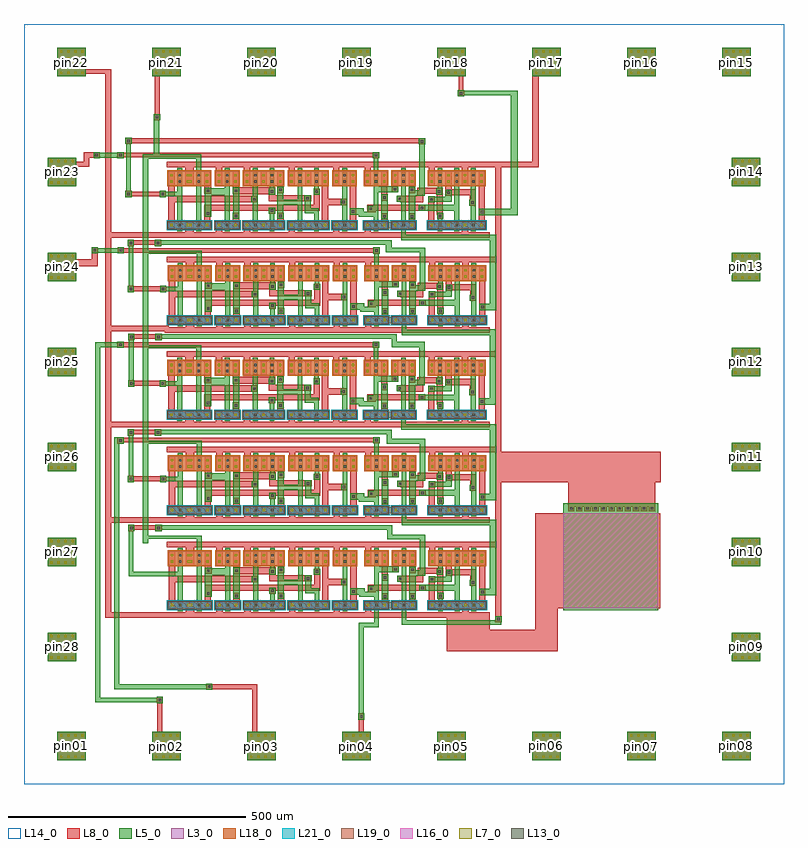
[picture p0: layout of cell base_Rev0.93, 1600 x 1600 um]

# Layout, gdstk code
from math import pi, radians
import gdstk
lib = gdstk.Library(unit=1e-6, precision=1e-09)
def R(c, l, rs):  # rectangles x0, y0, x1, y1
    for r in rs: c.add(gdstk.rectangle(r[:2], r[2:], *l))
def A(c, l, x, y, w, h, nx, ny, dx, dy):  # array of equal rectangles
    R(c, l, [(x+i*dx, y+j*dy, x+i*dx+w, y+j*dy+h) for i in range(nx) for j in range(ny)])
L3_0 = (3, 0)
L5_0 = (5, 0)
L7_0 = (7, 0)
L8_0 = (8, 0)
L13_0 = (13, 0)
L14_0 = (14, 0)
L16_0 = (16, 0)
L18_0 = (18, 0)
L19_0 = (19, 0)
L21_0 = (21, 0)

c_16_5x5_flame = lib.new_cell('16_5x5_flame')
R(c_16_5x5_flame, L14_0, [(-800,-800,800,800), (-750,-750,750,750)])

tin_m1 = lib.new_cell('tin_M1')
R(tin_m1, L5_0, [(-7,-7,6,6)])
R(tin_m1, L7_0, [(-3,-3,2,2)])
R(tin_m1, L8_0, [(-7,-7,6,6)])

pad_60_m1_tin = lib.new_cell('pad_60_m1_tin')
R(pad_60_m1_tin, L5_0, [(-30,-30,30,30), (-30,-30,30,30)])
R(pad_60_m1_tin, L8_0, [(-30,-30,30,30)])
r = gdstk.Reference(tin_m1, (22,-23), rotation=pi/2); r.repetition = gdstk.Repetition(4, 4, v1=(0,15), v2=(-15,0)); pad_60_m1_tin.add(r)

dcont_2 = lib.new_cell('dcont$2')
R(dcont_2, L3_0, [(-6.5,-6.5,6.5,6.5)])
R(dcont_2, L7_0, [(-2.5,-2.5,2.5,2.5)])
R(dcont_2, L8_0, [(-6.5,-6.5,6.5,6.5)])

pcont_min_1 = lib.new_cell('pcont_min$1')
R(pcont_min_1, L5_0, [(-4.5,-6.5,4.5,6.5)])
R(pcont_min_1, L7_0, [(-2.5,-2.5,2.5,2.5)])
R(pcont_min_1, L8_0, [(-4.5,-6.5,4.5,6.5)])
R(pcont_min_1, L13_0, [(-2.5,-2.5,2.5,2.5)])

pch_1_1 = lib.new_cell('Pch$1$1')
R(pch_1_1, L3_0, [(0,17,48,47)])
R(pch_1_1, L18_0, [(-2,15,50,49)])
pch_1_1.add(gdstk.FlexPath([(6.5,17),(6.5,47)], 13, ends="flush", simple_path=True, layer=8, datatype=0))  # L8_0
pch_1_1.add(gdstk.FlexPath([(41.5,17),(41.5,47)], 13, ends="flush", simple_path=True, layer=8, datatype=0))  # L8_0
pch_1_1.add(gdstk.FlexPath([(24,17),(24,47)], 10, ends=(6.5, 6.5), simple_path=True, layer=5, datatype=0))  # L5_0
pch_1_1.add(gdstk.Reference(dcont_2, (6.5,25.5)))
pch_1_1.add(gdstk.Reference(dcont_2, (6.5,38.5)))
pch_1_1.add(gdstk.Reference(dcont_2, (41.5,25.5)))
pch_1_1.add(gdstk.Reference(dcont_2, (41.5,38.5)))
pch_1_1.add(gdstk.Reference(pcont_min_1, (24,25.5)))
pch_1_1.add(gdstk.Reference(pcont_min_1, (24,38.5)))

nch_1_1 = lib.new_cell('Nch$1$1')
R(nch_1_1, L3_0, [(0,18.5,48,28.5)])
R(nch_1_1, L19_0, [(-2,15,50,32)])
R(nch_1_1, L21_0, [(-4,13,52,34)])
nch_1_1.add(gdstk.FlexPath([(6.5,17),(6.5,30)], 13, ends="flush", simple_path=True, layer=8, datatype=0))  # L8_0
nch_1_1.add(gdstk.FlexPath([(41.5,17),(41.5,30)], 13, ends="flush", simple_path=True, layer=8, datatype=0))  # L8_0
nch_1_1.add(gdstk.FlexPath([(24,17),(24,30)], 10, ends=(6.5, 6.5), simple_path=True, layer=5, datatype=0))  # L5_0
nch_1_1.add(gdstk.Reference(dcont_2, (6.5,23.5)))
nch_1_1.add(gdstk.Reference(dcont_2, (41.5,23.5)))
nch_1_1.add(gdstk.Reference(pcont_min_1, (24,23.5)))

pcont_1 = lib.new_cell('pcont$1')
R(pcont_1, L5_0, [(-6.5,-6.5,6.5,6.5)])
R(pcont_1, L7_0, [(-2.5,-2.5,2.5,2.5)])
R(pcont_1, L8_0, [(-6.5,-6.5,6.5,6.5)])
R(pcont_1, L13_0, [(-2.5,-2.5,2.5,2.5)])

top_1 = lib.new_cell('TOP$1')
R(top_1, L5_0, [(307,-56,317,-31), (19,-54,29,11), (59,-54,69,11), (119,-54,129,11), (178,-54,188,12), (213,-54,223,-39), (272,-54,282,11), (366,-54,376,11), (229,-53,242,-44), (136,-52,149,13), (76,-49,90,-4), (229,-47,242,11), (382,-45,406,-31), (287,-41,300,-3), (300,-41,307,-31), (242,-23,273,-13), (-3,-6,29,4), (76,-4,79,11), (79,-4,119,11), (59,53,69,69)])
A(top_1, L8_0, 159, -81, 13, 8, 3, 2, 94, 128)
R(top_1, L8_0, [(-4,-93,0,-81), (0,-93,158,-81), (158,-93,263,-81), (263,-93,378,-81), (378,-93,406,-81), (35,-81,53,-73), (100,-81,113,-73), (0,-73,13,33), (75,-73,88,-35), (135,-73,149,-42), (229,-73,243,-40), (323,-73,336,17), (382,-73,395,31), (75,-36,145,-23), (135,-36,187,-23), (187,-36,225,-23), (225,-36,277,-23), (277,-36,318,-23), (306,-36,319,10), (336,-25,376,-11), (13,-18,139,-5), (135,-18,187,-5), (211,-16,263,-3), (263,-16,301,-3), (211,-6,225,0), (135,-1,149,47), (135,-1,225,13), (75,0,90,47), (229,1,242,22), (35,46,53,55), (100,47,113,55), (-4,55,0,67), (0,55,158,67), (158,55,263,67), (263,55,378,67), (378,55,406,67)])
top_1.add(gdstk.Reference(pch_1_1, (0,0)))
top_1.add(gdstk.Reference(pch_1_1, (40,0)))
top_1.add(gdstk.Reference(pch_1_1, (100,0)))
top_1.add(gdstk.Reference(nch_1_1, (0,-90)))
top_1.add(gdstk.Reference(nch_1_1, (40,-90)))
top_1.add(gdstk.Reference(nch_1_1, (100,-90)))
top_1.add(gdstk.Reference(pcont_1, (83,6)))
top_1.add(gdstk.Reference(pch_1_1, (159,0)))
top_1.add(gdstk.Reference(nch_1_1, (159,-90)))
top_1.add(gdstk.Reference(pch_1_1, (194,0)))
top_1.add(gdstk.Reference(nch_1_1, (194,-90)))
top_1.add(gdstk.Reference(pcont_1, (83,-42)))
top_1.add(gdstk.Reference(pcont_1, (142,-47)))
top_1.add(gdstk.Reference(pcont_1, (142,6)))
top_1.add(gdstk.Reference(pcont_1, (181,-12)))
top_1.add(gdstk.Reference(pcont_1, (218,4)))
top_1.add(gdstk.Reference(pcont_1, (218,-36)))
top_1.add(gdstk.Reference(pch_1_1, (253,0)))
top_1.add(gdstk.Reference(pch_1_1, (288,0)))
top_1.add(gdstk.Reference(nch_1_1, (253,-90)))
top_1.add(gdstk.Reference(nch_1_1, (288,-90)))
top_1.add(gdstk.Reference(pcont_1, (236,8)))
top_1.add(gdstk.Reference(pcont_1, (236,-47)))
top_1.add(gdstk.Reference(pcont_1, (293,-10)))
top_1.add(gdstk.Reference(pcont_1, (312,4)))
top_1.add(gdstk.Reference(pch_1_1, (347,0)))
top_1.add(gdstk.Reference(nch_1_1, (347,-90)))
top_1.add(gdstk.Reference(pcont_1, (369,-18)))
top_1.add(gdstk.Reference(pcont_1, (389,-38)))
top_1.add(gdstk.Label('CLK', (64,68), layer=5, texttype=0))
top_1.add(gdstk.Label('DAT', (-2,-1), layer=5, texttype=0))
top_1.add(gdstk.Label('Q', (401,-39), layer=5, texttype=0))

pcont = lib.new_cell('pcont')
R(pcont, L5_0, [(-6.5,-6.5,6.5,6.5)])
R(pcont, L7_0, [(-2.5,-2.5,2.5,2.5)])
R(pcont, L8_0, [(-6.5,-6.5,6.5,6.5)])
R(pcont, L13_0, [(-2.5,-2.5,2.5,2.5)])

dcont = lib.new_cell('dcont')
R(dcont, L3_0, [(-6.5,-6.5,6.5,6.5)])
R(dcont, L7_0, [(-2.5,-2.5,2.5,2.5)])
R(dcont, L8_0, [(-6.5,-6.5,6.5,6.5)])

pcont_min = lib.new_cell('pcont_min')
R(pcont_min, L5_0, [(-4.5,-6.5,4.5,6.5)])
R(pcont_min, L7_0, [(-2.5,-2.5,2.5,2.5)])
R(pcont_min, L8_0, [(-4.5,-6.5,4.5,6.5)])
R(pcont_min, L13_0, [(-2.5,-2.5,2.5,2.5)])

pch_1 = lib.new_cell('Pch$1')
R(pch_1, L3_0, [(0,17,48,47)])
R(pch_1, L18_0, [(-2,15,50,49)])
pch_1.add(gdstk.FlexPath([(6.5,17),(6.5,47)], 13, ends="flush", simple_path=True, layer=8, datatype=0))  # L8_0
pch_1.add(gdstk.FlexPath([(41.5,17),(41.5,47)], 13, ends="flush", simple_path=True, layer=8, datatype=0))  # L8_0
pch_1.add(gdstk.FlexPath([(24,17),(24,47)], 10, ends=(6.5, 6.5), simple_path=True, layer=5, datatype=0))  # L5_0
pch_1.add(gdstk.Reference(dcont, (6.5,25.5)))
pch_1.add(gdstk.Reference(dcont, (6.5,38.5)))
pch_1.add(gdstk.Reference(dcont, (41.5,25.5)))
pch_1.add(gdstk.Reference(dcont, (41.5,38.5)))
pch_1.add(gdstk.Reference(pcont_min, (24,25.5)))
pch_1.add(gdstk.Reference(pcont_min, (24,38.5)))

nch_1 = lib.new_cell('Nch$1')
R(nch_1, L3_0, [(0,18.5,48,28.5)])
R(nch_1, L19_0, [(-2,15,50,32)])
R(nch_1, L21_0, [(-4,13,52,34)])
nch_1.add(gdstk.FlexPath([(6.5,17),(6.5,30)], 13, ends="flush", simple_path=True, layer=8, datatype=0))  # L8_0
nch_1.add(gdstk.FlexPath([(41.5,17),(41.5,30)], 13, ends="flush", simple_path=True, layer=8, datatype=0))  # L8_0
nch_1.add(gdstk.FlexPath([(24,17),(24,30)], 10, ends=(6.5, 6.5), simple_path=True, layer=5, datatype=0))  # L5_0
nch_1.add(gdstk.Reference(dcont, (6.5,23.5)))
nch_1.add(gdstk.Reference(dcont, (41.5,23.5)))
nch_1.add(gdstk.Reference(pcont_min, (24,23.5)))

top = lib.new_cell('TOP')
R(top, L5_0, [(94,-140,104,-126), (36,-101,46,-36), (94,-101,104,-36), (206,-101,216,-36), (241,-101,251,-36), (10,-96,36,-85), (257,-93,280,-79), (52,-92,66,-58), (110,-91,124,-40), (142,-83,209,-71), (164,-64,200,-54), (187,-54,200,-47), (124,-52,139,-40), (139,-52,144,-40), (46,-44,79,-32), (46,-44,79,-32), (132,-40,144,7), (171,-40,181,-36), (132,7,144,20)])
R(top, L8_0, [(10,-140,80,-128), (80,-140,279,-128), (279,-140,280,-128), (17,-128,30,-120), (222,-128,235,-120), (52,-120,88,-107), (151,-120,164,-88), (52,-107,66,-88), (110,-107,123,-88), (257,-107,270,-30), (169,-92,182,-48), (151,-88,164,-59), (23,-86,40,-70), (36,-83,86,-70), (86,-83,133,-70), (238,-72,251,-38), (92,-65,139,-52), (128,-65,140,-35), (52,-62,65,-26), (200,-51,251,-38), (169,-48,182,-35), (131,-47,181,-35), (187,-47,200,-29), (110,-46,123,-30), (75,-44,88,-28), (17,0,30,8), (152,0,165,8), (222,0,235,8), (10,8,80,20), (80,8,279,20), (279,8,280,20)])
top.add(gdstk.Reference(pcont, (81,-38)))
top.add(gdstk.Reference(pch_1, (17,-47)))
top.add(gdstk.Reference(nch_1, (17,-137)))
top.add(gdstk.Reference(nch_1, (75,-137)))
top.add(gdstk.Reference(pcont, (59,-95)))
top.add(gdstk.Reference(pcont, (59,-55)))
top.add(gdstk.Reference(pch_1, (75,-47)))
top.add(gdstk.Reference(pcont, (117,-39)))
top.add(gdstk.Reference(pcont, (117,-95)))
top.add(gdstk.Reference(pch_1, (152,-47)))
top.add(gdstk.Reference(pch_1, (187,-47)))
top.add(gdstk.Reference(nch_1, (152,-137)))
top.add(gdstk.Reference(nch_1, (187,-137)))
top.add(gdstk.Reference(pch_1, (222,-47)))
top.add(gdstk.Reference(nch_1, (222,-137)))
top.add(gdstk.Reference(pcont, (30,-79)))
top.add(gdstk.Reference(pcont, (91,-58)))
top.add(gdstk.Reference(pcont, (176,-94)))
top.add(gdstk.Reference(pcont, (158,-59)))
top.add(gdstk.Reference(pcont, (194,-45)))
top.add(gdstk.Reference(pcont, (174,-43)))
top.add(gdstk.Reference(pcont, (138,-77)))
top.add(gdstk.Reference(pcont, (244,-66)))
top.add(gdstk.Reference(pcont, (264,-86)))
top.add(gdstk.Label('DIN', (11,-91), layer=5, texttype=0))
top.add(gdstk.Label('CIN', (99,-139), layer=5, texttype=0))
top.add(gdstk.Label('DOUT', (137,17), layer=5, texttype=0))
top.add(gdstk.Label('COUT', (275,-87), layer=5, texttype=0))

pcont_2 = lib.new_cell('pcont$2')
R(pcont_2, L5_0, [(-6.5,-6.5,6.5,6.5)])
R(pcont_2, L7_0, [(-2.5,-2.5,2.5,2.5)])
R(pcont_2, L8_0, [(-6.5,-6.5,6.5,6.5)])
R(pcont_2, L13_0, [(-2.5,-2.5,2.5,2.5)])

pcont_3 = lib.new_cell('pcont$3')
R(pcont_3, L5_0, [(-6.5,-6.5,6.5,6.5)])
R(pcont_3, L7_0, [(-2.5,-2.5,2.5,2.5)])
R(pcont_3, L8_0, [(-6.5,-6.5,6.5,6.5)])
R(pcont_3, L13_0, [(-2.5,-2.5,2.5,2.5)])

tin_cap = lib.new_cell('TIN_cap')
R(tin_cap, L5_0, [(23.5,-4,223.5,221)])
R(tin_cap, L8_0, [(0,0,227.5,200)])
R(tin_cap, L16_0, [(23.5,0,223.5,200)])
tin_cap.add(gdstk.Reference(pcont_3, (40.25,210.5)))
tin_cap.add(gdstk.Reference(pcont_3, (57.25,210.5)))
tin_cap.add(gdstk.Reference(pcont_3, (74.25,210.5)))
tin_cap.add(gdstk.Reference(pcont_3, (91.25,210.5)))
tin_cap.add(gdstk.Reference(pcont_3, (108.25,210.5)))
tin_cap.add(gdstk.Reference(pcont_3, (125.25,210.5)))
tin_cap.add(gdstk.Reference(pcont_3, (142.25,210.5)))
tin_cap.add(gdstk.Reference(pcont_3, (159.25,210.5)))
tin_cap.add(gdstk.Reference(pcont_3, (176.25,210.5)))
tin_cap.add(gdstk.Reference(pcont_3, (193.25,210.5)))
tin_cap.add(gdstk.Reference(pcont_3, (210.25,210.5)))

base_rev0_93 = lib.new_cell('base_Rev0.93')
R(base_rev0_93, L5_0, [(-95,-653,-85,-460), (-650,-628,-640,-560), (-640,-628,-520,-618), (-610,-600,-599,-470), (-599,-600,-414,-590), (-650,-560,-640,-450), (-610,-470,-599,-70), (-85,-470,-53,-460), (-5,-465,5,-450), (5,-465,205,-455), (-63,-460,-53,-436), (-650,-450,-640,-260), (-94,-406,-83,-388), (181,-403,194,-244), (-580,-363,-570,-265), (-570,-363,-498,-353), (-550,-293,-538,516), (33,-290,45,-275), (-436,-288,-426,-284), (-35,-285,-25,-265), (-25,-285,33,-275), (-538,-284,-426,-277), (-512,-265,-499,-255), (-499,-265,-25,-255), (-650,-260,-640,120), (-5,-255,5,-250), (5,-255,182,-244), (-95,-206,-84,-188), (181,-203,194,-44), (-580,-163,-570,-65), (-502,-163,-498,-153), (-63,-104,-53,-82), (33,-90,45,-84), (-436,-88,-426,-84), (-538,-84,-426,-77), (-36,-84,-26,-64), (-26,-84,45,-73), (-513,-64,-500,-54), (-500,-64,-26,-54), (-6,-54,4,-49), (4,-54,181,-43), (181,-44,194,-43), (-95,-5,-85,13), (180,-2,193,157), (-579,38,-569,136), (-503,38,-499,48), (-64,97,-54,119), (32,111,44,120), (-437,113,-427,117), (-539,117,-427,124), (-650,120,-646,130), (-646,120,-600,130), (-26,120,-15,147), (-15,120,44,131), (-512,137,-499,147), (-499,137,-25,147), (-5,145,5,150), (5,145,182,156), (-92,194,-84,212), (181,197,194,356), (-502,237,-498,247), (-580,241,-570,339), (-63,296,-53,318), (33,310,45,319), (-436,312,-426,316), (-538,316,-426,323), (-650,318,-600,328), (-38,319,45,329), (-38,329,-26,335), (-513,335,-500,345), (-500,335,-26,345), (-6,345,4,350), (4,345,181,356), (-95,394,-85,412), (180,397,239,411), (225,411,239,564), (-504,437,-499,447), (-585,440,-575,549), (-64,496,-54,518), (32,510,44,554), (-437,512,-427,516), (-550,516,-507,526), (-507,516,-427,526), (-642,518,-635,529), (-635,518,-600,529), (-527,526,-515,527), (-527,527,-515,598), (225,564,239,660), (124,650,225,660)])
R(base_rev0_93, L8_0, [(-520,-695,-509,-628), (-95,-694,-85,-663), (-320,-692,-309,-590), (-405,-600,-320,-590), (90,-520,276,-475), (276,-520,324,-510), (276,-510,324,-430), (90,-475,181,-450), (-629,-450,-616,510), (-616,-450,-499,-438), (192,-450,205,510), (276,-430,312,-230), (181,-302,205,-290), (-570,-265,-521,-255), (-616,-250,-499,-238), (346,-216,529,-165), (205,-165,541,-101), (-569,-163,-512,-152), (181,-102,205,-90), (-592,-81,-548,-71), (-548,-81,-63,-71), (-571,-64,-522,-54), (-617,-49,-500,-37), (-568,38,-511,49), (180,99,205,111), (-593,120,-549,130), (-549,120,-64,130), (-570,137,-521,147), (-504,150,-495,165), (-616,153,-499,165), (-569,237,-511,248), (-692,290,-645,305), (181,298,205,310), (-657,305,-645,318), (-590,318,-548,328), (-548,318,-63,328), (-571,335,-522,345), (-616,350,-500,362), (-576,437,-511,447), (180,498,205,510), (205,498,284,510), (-692,500,-663,510), (-674,510,-663,530), (-629,510,-616,705), (270,510,284,570), (-663,518,-651,530), (-594,519,-550,529), (-550,519,-65,529), (-575,549,-540,559), (-540,549,32,559), (270,570,284,690), (-525,610,-514,691), (115,659,125,703), (-673,695,-629,705)])
base_rev0_93.add(gdstk.Reference(c_16_5x5_flame, (0,0)))
r = gdstk.Reference(pad_60_m1_tin, (700,720), rotation=pi/2); r.repetition = gdstk.Repetition(1, 8, v1=(0,0), v2=(-200,0)); base_rev0_93.add(r)
r = gdstk.Reference(pad_60_m1_tin, (700,-720), rotation=pi/2); r.repetition = gdstk.Repetition(1, 8, v1=(0,0), v2=(-200,0)); base_rev0_93.add(r)
r = gdstk.Reference(pad_60_m1_tin, (-720,488), rotation=pi); r.repetition = gdstk.Repetition(1, 6, v1=(0,0), v2=(0,-200)); base_rev0_93.add(r)
r = gdstk.Reference(pad_60_m1_tin, (720,488), rotation=pi); r.repetition = gdstk.Repetition(1, 6, v1=(0,0), v2=(0,-200)); base_rev0_93.add(r)
base_rev0_93.add(gdstk.Reference(top_1, (-496,443)))
base_rev0_93.add(gdstk.Reference(top_1, (-495,243)))
base_rev0_93.add(gdstk.Reference(top_1, (-496,44)))
base_rev0_93.add(gdstk.Reference(top_1, (-495,-157)))
base_rev0_93.add(gdstk.Reference(top_1, (-495,-357)))
base_rev0_93.add(gdstk.Reference(top, (-100,490)))
base_rev0_93.add(gdstk.Reference(top, (-99,290)))
base_rev0_93.add(gdstk.Reference(top, (-100,91)))
base_rev0_93.add(gdstk.Reference(top, (-99,-110)))
base_rev0_93.add(gdstk.Reference(top, (-99,-310)))
base_rev0_93.add(gdstk.Reference(pcont_2, (-520,604)))
base_rev0_93.add(gdstk.Reference(pcont_2, (199,-453)))
base_rev0_93.add(gdstk.Reference(pcont_2, (-517,-261)))
base_rev0_93.add(gdstk.Reference(pcont_2, (-574,-261)))
base_rev0_93.add(gdstk.Reference(pcont_2, (-90,-658)))
base_rev0_93.add(gdstk.Reference(pcont_2, (-518,-60)))
base_rev0_93.add(gdstk.Reference(pcont_2, (-575,-60)))
base_rev0_93.add(gdstk.Reference(pcont_2, (-58,-76)))
base_rev0_93.add(gdstk.Reference(pcont_2, (-597,-77)))
base_rev0_93.add(gdstk.Reference(pcont_2, (-410,-595)))
base_rev0_93.add(gdstk.Reference(pcont_2, (-59,125)))
base_rev0_93.add(gdstk.Reference(pcont_2, (38,553)))
base_rev0_93.add(gdstk.Reference(pcont_2, (120,654)))
base_rev0_93.add(gdstk.Reference(pcont_2, (-575,-158)))
base_rev0_93.add(gdstk.Reference(pcont_2, (-507,-158)))
base_rev0_93.add(gdstk.Reference(pcont_2, (-580,554)))
base_rev0_93.add(gdstk.Reference(pcont_2, (-508,442)))
base_rev0_93.add(gdstk.Reference(pcont_2, (-580,442)))
base_rev0_93.add(gdstk.Reference(pcont_2, (-517,141)))
base_rev0_93.add(gdstk.Reference(pcont_2, (-574,141)))
base_rev0_93.add(gdstk.Reference(pcont_2, (-508,43)))
base_rev0_93.add(gdstk.Reference(pcont_2, (-574,43)))
base_rev0_93.add(gdstk.Reference(pcont_2, (-58,323)))
base_rev0_93.add(gdstk.Reference(pcont_2, (-518,339)))
base_rev0_93.add(gdstk.Reference(pcont_2, (-575,339)))
base_rev0_93.add(gdstk.Reference(pcont_2, (-507,242)))
base_rev0_93.add(gdstk.Reference(pcont_2, (-575,242)))
base_rev0_93.add(gdstk.Reference(pcont_2, (-597,125)))
base_rev0_93.add(gdstk.Reference(pcont_2, (-596,324)))
base_rev0_93.add(gdstk.Reference(pcont_2, (-514,-623)))
base_rev0_93.add(gdstk.Reference(pcont_2, (-59,524)))
base_rev0_93.add(gdstk.Reference(pcont_2, (-651,324)))
base_rev0_93.add(gdstk.Reference(pcont_2, (-597,524)))
base_rev0_93.add(gdstk.Reference(pcont_2, (-647,524)))
base_rev0_93.add(gdstk.Reference(tin_cap, (312,-430)))
base_rev0_93.add(gdstk.Label('pin01', (-699,-719.5), layer=8, texttype=0))
base_rev0_93.add(gdstk.Label('pin02', (-499,-720), layer=8, texttype=0))
base_rev0_93.add(gdstk.Label('pin03', (-299,-720), layer=8, texttype=0))
base_rev0_93.add(gdstk.Label('pin04', (-99,-720), layer=8, texttype=0))
base_rev0_93.add(gdstk.Label('pin05', (101,-720), layer=8, texttype=0))
base_rev0_93.add(gdstk.Label('pin06', (301,-719.5), layer=8, texttype=0))
base_rev0_93.add(gdstk.Label('pin07', (501,-720), layer=8, texttype=0))
base_rev0_93.add(gdstk.Label('pin08', (701,-719.5), layer=8, texttype=0))
base_rev0_93.add(gdstk.Label('pin09', (720.5,-511), layer=8, texttype=0))
base_rev0_93.add(gdstk.Label('pin10', (720,-311), layer=8, texttype=0))
base_rev0_93.add(gdstk.Label('pin11', (720,-111), layer=8, texttype=0))
base_rev0_93.add(gdstk.Label('pin12', (720,89), layer=8, texttype=0))
base_rev0_93.add(gdstk.Label('pin13', (720,289), layer=8, texttype=0))
base_rev0_93.add(gdstk.Label('pin14', (720,489), layer=8, texttype=0))
base_rev0_93.add(gdstk.Label('pin15', (701,720), layer=8, texttype=0))
base_rev0_93.add(gdstk.Label('pin16', (501,720), layer=8, texttype=0))
base_rev0_93.add(gdstk.Label('pin17', (301,720), layer=8, texttype=0))
base_rev0_93.add(gdstk.Label('pin18', (101,720), layer=8, texttype=0))
base_rev0_93.add(gdstk.Label('pin19', (-99,720), layer=8, texttype=0))
base_rev0_93.add(gdstk.Label('pin20', (-299,720), layer=8, texttype=0))
base_rev0_93.add(gdstk.Label('pin21', (-499,720), layer=8, texttype=0))
base_rev0_93.add(gdstk.Label('pin22', (-699,720), layer=8, texttype=0))
base_rev0_93.add(gdstk.Label('pin23', (-720,489), layer=8, texttype=0))
base_rev0_93.add(gdstk.Label('pin24', (-720,289), layer=8, texttype=0))
base_rev0_93.add(gdstk.Label('pin25', (-720,89), layer=8, texttype=0))
base_rev0_93.add(gdstk.Label('pin26', (-720,-111), layer=8, texttype=0))
base_rev0_93.add(gdstk.Label('pin27', (-720,-311), layer=8, texttype=0))
base_rev0_93.add(gdstk.Label('pin28', (-720,-511), layer=8, texttype=0))

lib.write_gds('base_Rev0.93.gds')
